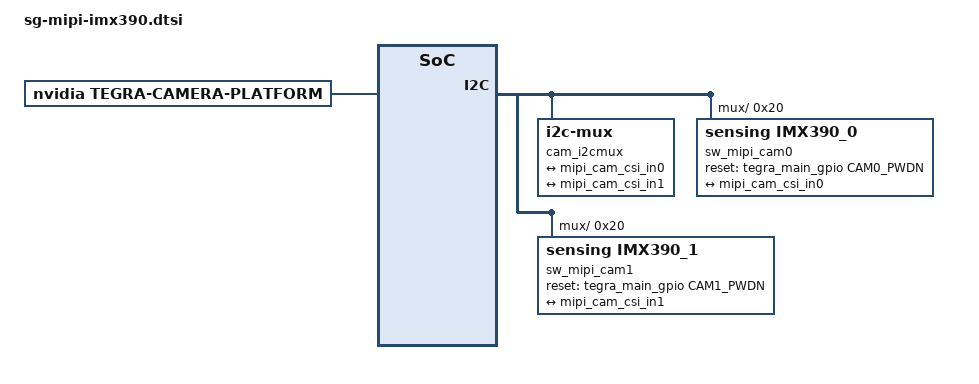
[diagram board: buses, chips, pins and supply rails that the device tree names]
/*
 * Copyright (c) 2022-2023, NVIDIA CORPORATION.  All rights reserved.
 *
 * This program is free software; you can redistribute it and/or modify
 * it under the terms of the GNU General Public License as published by
 * the Free Software Foundation; either version 2 of the License, or
 * (at your option) any later version.
 *
 * This program is distributed in the hope that it will be useful, but WITHOUT
 * ANY WARRANTY; without even the implied warranty of MERCHANTABILITY or
 * FITNESS FOR A PARTICULAR PURPOSE.  See the GNU General Public License for
 * more details.
 *
 * You should have received a copy of the GNU General Public License
 * along with this program.  If not, see <http://www.gnu.org/licenses/>.
 */
#define CAM0_PWDN	TEGRA234_MAIN_GPIO(H, 6)
#define CAM1_PWDN	TEGRA234_MAIN_GPIO(AC, 0)
#define CAM_I2C_MUX 	TEGRA234_AON_GPIO(CC, 3)

/ {
	tegra-capture-vi  {
		num-channels = <2>;
		ports {
			#address-cells = <1>;
			#size-cells = <0>;
			port@0 {
				reg = <0>;
				mipi_cam_vi_in0: endpoint {
					port-index = <1>;
					bus-width = <2>;
					remote-endpoint = <&mipi_cam_csi_out0>;
				};
			};
			port@1 {
				reg = <1>;
				mipi_cam_vi_in1: endpoint {
					port-index = <2>;
					bus-width = <4>;
					remote-endpoint = <&mipi_cam_csi_out1>;
				};
			};
		};
	};

	host1x@13e00000 {
		nvcsi@15a00000 {
			num-channels = <2>;
			#address-cells = <1>;
			#size-cells = <0>;
			channel@0 {
				reg = <0>;
				ports {
					#address-cells = <1>;
					#size-cells = <0>;
					port@0 {
						reg = <0>;
						mipi_cam_csi_in0: endpoint@0 {
							port-index = <1>;
							bus-width = <2>;
							remote-endpoint = <&mipi_cam_out0>;
						};
					};
					port@1 {
						reg = <1>;
						mipi_cam_csi_out0: endpoint@1 {
							remote-endpoint = <&mipi_cam_vi_in0>;
						};
					};
				};
			};
			channel@1 {
				reg = <1>;
				ports {
					#address-cells = <1>;
					#size-cells = <0>;
					port@0 {
						reg = <0>;
						mipi_cam_csi_in1: endpoint@2 {
							port-index = <2>;
							bus-width = <4>;
							remote-endpoint = <&mipi_cam_out1>;
						};
					};
					port@1 {
						reg = <1>;
						mipi_cam_csi_out1: endpoint@3 {
							remote-endpoint = <&mipi_cam_vi_in1>;
						};
					};
				};
			};
		};
	};

	cam_i2cmux {
		i2c@0 {
			sw_mipi_cam0: cam_0@20 {
				compatible = "sensing,imx390_0";
				/* I2C device address */
				reg = <0x20>;

				/* V4L2 device node location */
				devnode = "video0";

				/* Physical dimensions of sensor */
				physical_w = "3.680";
				physical_h = "2.760";

				sensor_model = "imx390";

				use_sensor_mode_id = "true";
				
				use_decibel_gain = "true";

				reset-gpios = <&tegra_main_gpio CAM0_PWDN GPIO_ACTIVE_HIGH>;

				/**
				* ==== Modes ====
				* A modeX node is required to support v4l2 driver
				* implementation with NVIDIA camera software stack
				*
				* == Signal properties ==
				*
				* phy_mode = "";
				* PHY mode used by the MIPI lanes for this device
				*
				* tegra_sinterface = "";
				* CSI Serial interface connected to tegra
				* Incase of virtual HW devices, use virtual
				* For SW emulated devices, use host
				*
				* pix_clk_hz = "";
				* Sensor pixel clock used for calculations like exposure and framerate
				*
				* readout_orientation = "0";
				* Based on camera module orientation.
				* Only change readout_orientation if you specifically
				* Program a different readout order for this mode
				*
				* lane_polarity
				* Based on the camera connector pin.
				* CSIx_D0 | CSIx_D1 | CSI(X+1)_D0 | CSI(X+1)CSIx_D1
				*    LSB  |   BIT1  |     BIT2    |      MSB
				* if there is a polarity swap on any lane, the bit corrsponding
				* to the lane should be set
				* e.g. polarity swap on CSIx_D0 only -> lane_polarity = "1"; 0001
				* e.g. polarity swap on CSIx_D1 and CSI(X+1)_D0 -> lane_polarity = "6"; 0110
				*
				* == Image format Properties ==
				*
				* active_w = "";
				* Pixel active region width
				*
				* active_h = "";
				* Pixel active region height
				*
				* pixel_t = "";
				* The sensor readout pixel pattern
				*
				* line_length = "";
				* Pixel line length (width) for sensor mode.
				*
				* == Source Control Settings ==
				*
				* Gain factor used to convert fixed point integer to float
				* Gain range [min_gain/gain_factor, max_gain/gain_factor]
				* Gain step [step_gain/gain_factor is the smallest step that can be configured]
				* Default gain [Default gain to be initialized for the control.
				*     use min_gain_val as default for optimal results]
				* Framerate factor used to convert fixed point integer to float
				* Framerate range [min_framerate/framerate_factor, max_framerate/framerate_factor]
				* Framerate step [step_framerate/framerate_factor is the smallest step that can be configured]
				* Default Framerate [Default framerate to be initialized for the control.
				*     use max_framerate to get required performance]
				* Exposure factor used to convert fixed point integer to float
				* For convenience use 1 sec = 1000000us as conversion factor
				* Exposure range [min_exp_time/exposure_factor, max_exp_time/exposure_factor]
				* Exposure step [step_exp_time/exposure_factor is the smallest step that can be configured]
				* Default Exposure Time [Default exposure to be initialized for the control.
				*     Set default exposure based on the default_framerate for optimal exposure settings]
				*
				* gain_factor = ""; (integer factor used for floating to fixed point conversion)
				* min_gain_val = ""; (ceil to integer)
				* max_gain_val = ""; (ceil to integer)
				* step_gain_val = ""; (ceil to integer)
				* default_gain = ""; (ceil to integer)
				* Gain limits for mode
				*
				* exposure_factor = ""; (integer factor used for floating to fixed point conversion)
				* min_exp_time = ""; (ceil to integer)
				* max_exp_time = ""; (ceil to integer)
				* step_exp_time = ""; (ceil to integer)
				* default_exp_time = ""; (ceil to integer)
				* Exposure Time limits for mode (sec)
				*
				* framerate_factor = ""; (integer factor used for floating to fixed point conversion)
				* min_framerate = ""; (ceil to integer)
				* max_framerate = ""; (ceil to integer)
				* step_framerate = ""; (ceil to integer)
				* default_framerate = ""; (ceil to integer)
				* Framerate limits for mode (fps)
				*
				* embedded_metadata_height = "";
				* Sensor embedded metadata height in units of rows.
				* If sensor does not support embedded metadata value should be 0.
				*/
				mode0 { /* IMX390_FHD_NML_SP1L_12_M2_40 */
					mclk_khz = "24000";
					num_lanes = "2";
					tegra_sinterface = "serial_b";
					phy_mode = "DPHY";
					discontinuous_clk = "no";
					dpcm_enable = "false";
					cil_settletime = "0";
					lane_polarity = "6";

					active_w = "1920";
					active_h = "1080";
					mode_type = "bayer";
					pixel_phase = "rggb";
					csi_pixel_bit_depth = "12";
					dynamic_pixel_bit_depth = "12";
					readout_orientation = "0";
					line_length = "4400";
					inherent_gain = "1";
					mclk_multiplier = "6.1875";
					pix_clk_hz = "148500000";

					gain_factor = "10";
					min_gain_val = "0"; /* dB */
					max_gain_val = "300"; /* dB */
					step_gain_val = "3"; /* 0.3 */
					default_gain = "0";
					min_hdr_ratio = "1";
					max_hdr_ratio = "1";
					framerate_factor = "1000000";
					min_framerate = "30000000";
					max_framerate = "30000000";
					step_framerate = "1";
					default_framerate = "30000000";
					exposure_factor = "1000000";
					min_exp_time = "3000"; /*us, 2 lines*/
					max_exp_time = "3000";
					step_exp_time = "1";
					default_exp_time = "3000";/* us */
					embedded_metadata_height = "1";
				};

				ports {
					#address-cells = <1>;
					#size-cells = <0>;

					port@0 {
						reg = <0>;
						mipi_cam_out0: endpoint {
							port-index = <1>;
							bus-width = <2>;
							remote-endpoint = <&mipi_cam_csi_in0>;
						};
					};
				};
			};
		};
		i2c@1 {
			sw_mipi_cam1: cam_1@20 {
				compatible = "sensing,imx390_1";
				/* I2C device address */
				reg = <0x20>;

				/* V4L2 device node location */
				devnode = "video1";

				/* Physical dimensions of sensor */
				physical_w = "3.680";
				physical_h = "2.760";

				sensor_model = "imx390";
				
				/* Defines number of frames to be dropped by driver internally after applying */
				/* sensor crop settings. Some sensors send corrupt frames after applying */
				/* crop co-ordinates */
				post_crop_frame_drop = "0";
				
				use_decibel_gain = "true";

				use_sensor_mode_id = "true";

				reset-gpios = <&tegra_main_gpio CAM1_PWDN GPIO_ACTIVE_HIGH>;

				mode0 {/*mode SENSOR_MODE_1920X1080_CROP_30FPS*/
						mclk_khz = "24000";
						num_lanes = "4";
						tegra_sinterface = "serial_c";
						phy_mode = "DPHY";
						discontinuous_clk = "no";
						dpcm_enable = "false";
						cil_settletime = "0";
						lane_polarity = "0";

						active_w = "1920";
						active_h = "1080";
						mode_type = "bayer";
						pixel_phase = "rggb";
						csi_pixel_bit_depth = "12";
						dynamic_pixel_bit_depth = "12";
						readout_orientation = "0";
						line_length = "2200";
						inherent_gain = "1";
						mclk_multiplier = "6.1875";
						pix_clk_hz = "120000000";
											
						gain_factor = "10";
						min_gain_val = "0"; /* dB */
						max_gain_val = "300"; /* dB */
						step_gain_val = "3"; /* 0.3 */
						default_gain = "0";
						min_hdr_ratio = "1";
						max_hdr_ratio = "1";
						framerate_factor = "1000000";
						min_framerate = "30000000";
						max_framerate = "30000000";
						step_framerate = "1";
						default_framerate = "30000000";
						exposure_factor = "1000000";
						min_exp_time = "59"; /*us, 2 lines*/
						max_exp_time = "33333";
						step_exp_time = "1";
						default_exp_time = "33333";/* us */
						embedded_metadata_height = "1";

					};

				mode1 {/*mode 1920x1080_crop_4lane_hdr_raw12_rggb_30fps*/
						mclk_khz = "24000";
						num_lanes = "4";
						tegra_sinterface = "serial_c";
						discontinuous_clk = "no";
						dpcm_enable = "false";
						cil_settletime = "0";
						dynamic_pixel_bit_depth = "20";
						csi_pixel_bit_depth = "12";
						mode_type = "bayer_wdr_pwl";
						pixel_phase = "rggb";

						active_w = "1920";
						active_h = "1080";
						readout_orientation = "0";
						line_length = "2200";
						inherent_gain = "1";
						pix_clk_hz = "120000000";

						gain_factor = "10";
						min_gain_val = "0"; /* dB */
						max_gain_val = "300"; /* dB */
						step_gain_val = "3"; /* 0.3 */
						default_gain = "0";
						min_hdr_ratio = "1";
						max_hdr_ratio = "1";
						framerate_factor = "1000000";
						min_framerate = "30000000";
						max_framerate = "30000000";
						step_framerate = "1";
						default_framerate = "30000000";
						exposure_factor = "1000000";
						min_exp_time = "59"; /*us, 2 lines*/
						max_exp_time = "33333";
						step_exp_time = "1";
						default_exp_time = "33333";/* us */
						embedded_metadata_height = "1";

						/* WDR related settings */
						num_control_point = "9";
						control_point_x_0 = "0";
						control_point_x_1 = "480";
						control_point_x_2 = "1438";
						control_point_x_3 = "4315";
						control_point_x_4 = "12945";
						control_point_x_5 = "38836";
						control_point_x_6 = "116508";
						control_point_x_7 = "349525";
						control_point_x_8 = "1048576";
						control_point_y_0 = "0";
						control_point_y_1 = "480";
						control_point_y_2 = "840";
						control_point_y_3 = "1240";
						control_point_y_4 = "1696";
						control_point_y_5 = "2200";
						control_point_y_6 = "2764";
						control_point_y_7 = "3396";
						control_point_y_8 = "4096";
					};
				ports {
					#address-cells = <1>;
					#size-cells = <0>;

					port@0 {
						reg = <0>;
						mipi_cam_out1: endpoint {
							port-index = <2>;
							bus-width = <4>;
							remote-endpoint = <&mipi_cam_csi_in1>;
						};
					};
				};
			};
		};
	};
};

/ {
	tegra-camera-platform {
		compatible = "nvidia, tegra-camera-platform";

		/**
		* Physical settings to calculate max ISO BW
		*
		* num_csi_lanes = <>;
		* Total number of CSI lanes when all cameras are active
		*
		* max_lane_speed = <>;
		* Max lane speed in Kbit/s
		*
		* min_bits_per_pixel = <>;
		* Min bits per pixel
		*
		* vi_peak_byte_per_pixel = <>;
		* Max byte per pixel for the VI ISO case
		*
		* vi_bw_margin_pct = <>;
		* Vi bandwidth margin in percentage
		*
		* max_pixel_rate = <>;
		* Max pixel rate in Kpixel/s for the ISP ISO case
		*
		* isp_peak_byte_per_pixel = <>;
		* Max byte per pixel for the ISP ISO case
		*
		* isp_bw_margin_pct = <>;
		* Isp bandwidth margin in percentage
		*/
		num_csi_lanes = <8>;
		max_lane_speed = <2500000>;
		min_bits_per_pixel = <10>;
		vi_peak_byte_per_pixel = <2>;
		vi_bw_margin_pct = <25>;
		max_pixel_rate = <7500000>;
		isp_peak_byte_per_pixel = <5>;
		isp_bw_margin_pct = <25>;

		/**
		 * The general guideline for naming badge_info contains 3 parts, and is as follows,
		 * The first part is the camera_board_id for the module; if the module is in a FFD
		 * platform, then use the platform name for this part.
		 * The second part contains the position of the module, ex. "rear" or "front".
		 * The third part contains the last 6 characters of a part number which is found
		 * in the module's specsheet from the vendor.
		 */
		modules {
			module0 {
				badge = "imx390_front";
				position = "front";
				orientation = "1";
				drivernode0 {
					pcl_id = "v4l2_sensor";
					devname = "imx390 9-0020";
					proc-device-tree = "/proc/device-tree/cam_i2cmux/i2c@0/cam_0@20";
				};
			};
			module1 {
				badge = "imx390_rear";
				position = "rear";
				orientation = "1";
				drivernode0 {
					pcl_id = "v4l2_sensor";
					devname = "imx390 10-0020";
					proc-device-tree = "/proc/device-tree/cam_i2cmux/i2c@1/cam_1@20";
				};
			};
		};
	};
};
